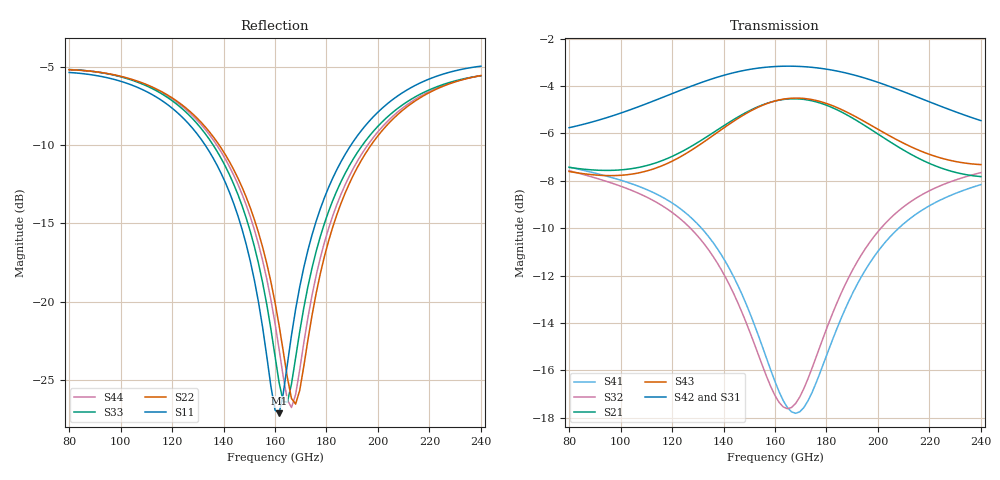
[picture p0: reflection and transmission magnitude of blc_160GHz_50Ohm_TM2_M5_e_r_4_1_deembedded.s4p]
! Created with skrf 1.11.0 (http://scikit-rf.org).
# GHz S DB R 50.0
!freq dBS11 angS11 dBS12 angS12 dBS13 angS13
! dBS14 angS14
! dBS21 angS21 dBS22 angS22 dBS23 angS23
! dBS24 angS24
! dBS31 angS31 dBS32 angS32 dBS33 angS33
! dBS34 angS34
! dBS41 angS41 dBS42 angS42 dBS43 angS43
! dBS44 angS44
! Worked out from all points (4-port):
!   101 points, 80 GHz to 240 GHz, reference 50 ohm
!   strongest paths, dB at 80 GHz, 120 GHz, 160 GHz, 200 GHz, 240 GHz:
!     S42: -5.8, -4.3, -3.2, -3.8, -5.5
!     S31: -5.7, -4.2, -3.1, -4.1, -5.7
!     S43: -7.6, -7.2, -4.6, -5.8, -7.3
!     S21: -7.4, -7.0, -4.6, -6.0, -7.8
!     S32: -7.6, -9.3, -17.1, -10.1, -7.7
!     S41: -7.4, -8.9, -16.5, -11.0, -8.2
!   lowest |S11| = -27.2 dB at 161.6 GHz (marker M1), VSWR 1.09, Z = 54.6 - j0.0191 ohm
!   |S11| at or under -10 dB: 133 GHz to 189.4 GHz (56.48 GHz wide, 35 % of centre)
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80  -5.32 164.5  -7.44 -46.1  -5.68 -77.3  -7.42 -59.9
    -7.44 -46.1  -5.15 157.9  -7.58 -62.7  -5.76 -80.2
    -5.68 -77.3  -7.58 -62.7  -5.14 157.1  -7.61 -48.5
    -7.42 -59.9  -5.76 -80.2  -7.61 -48.5  -5.14 157.6
134.4  -10.37 120.0  -6.08 -65.1  -3.58 -138.0  -10.38 -105.3
       -6.08 -65.1  -9.11 111.4  -10.95 -107.9  -3.74 -141.6
       -3.58 -138.0  -10.95 -107.9  -9.59 107.5  -6.21 -67.0
       -10.38 -105.3  -3.74 -141.6  -6.21 -67.0  -9.29 109.9
150.4  -17.41 92.5  -5.03 -77.4  -3.18 -160.2  -13.63 -115.4
       -5.03 -77.4  -14.00 88.5  -14.43 -115.2  -3.30 -163.7
       -3.18 -160.2  -14.43 -115.2  -15.51 80.8  -5.06 -79.6
       -13.63 -115.4  -3.30 -163.7  -5.06 -79.6  -14.57 85.7
161.6  -27.16 -0.2  -4.60 -88.8  -3.14 -176.2  -16.91 -107.1
       -4.60 -88.8  -21.54 55.9  -17.35 -101.3  -3.17 -179.8
       -3.14 -176.2  -17.35 -101.3  -25.20 25.7  -4.59 -91.3
       -16.91 -107.1  -3.17 -179.8  -4.59 -91.3  -23.07 46.7
168  -20.51 -60.2  -4.54 -95.8  -3.20 174.7  -17.81 -91.8
     -4.54 -95.8  -26.57 -12.1  -17.40 -85.0  -3.17 171.0
     -3.20 174.7  -17.40 -85.0  -23.62 -58.2  -4.51 -98.5
     -17.81 -91.8  -3.17 171.0  -4.51 -98.5  -25.97 -34.6
187.2  -10.59 -97.9  -5.18 -115.4  -3.63 148.3  -13.43 -68.8
       -5.18 -115.4  -13.07 -105.9  -12.40 -71.6  -3.44 143.7
       -3.63 148.3  -12.40 -71.6  -11.81 -113.5  -5.07 -118.4
       -13.43 -68.8  -3.44 143.7  -5.07 -118.4  -12.54 -109.5
240  -4.92 -141.9  -7.82 -140.5  -5.73 87.7  -8.16 -109.2
     -7.82 -140.5  -5.52 -160.6  -7.66 -117.7  -5.46 79.2
     -5.73 87.7  -7.66 -117.7  -5.53 -163.5  -7.32 -146.5
     -8.16 -109.2  -5.46 79.2  -7.32 -146.5  -5.54 -162.1
